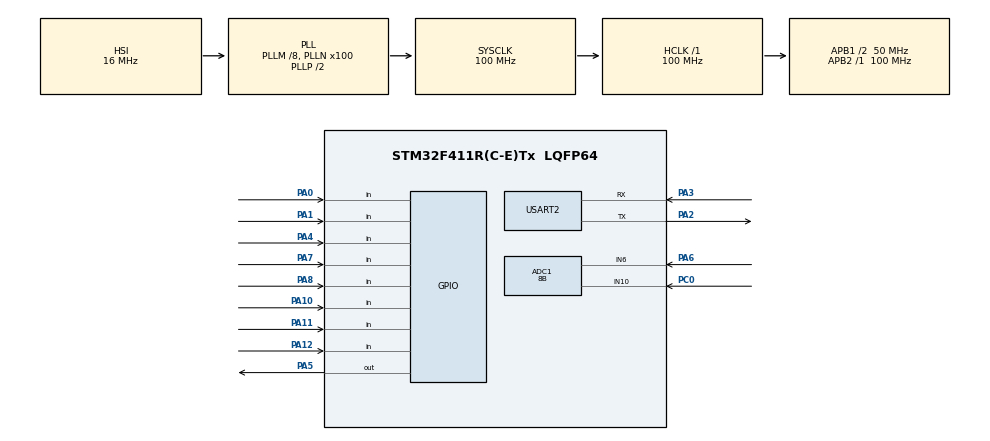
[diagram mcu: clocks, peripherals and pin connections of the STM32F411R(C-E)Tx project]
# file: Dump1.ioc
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ADC1.Channel-0\#ChannelRegularConversion=ADC_CHANNEL_6
ADC1.Channel-1\#ChannelRegularConversion=ADC_CHANNEL_10
ADC1.ContinuousConvMode=ENABLE
ADC1.DMAContinuousRequests=ENABLE
ADC1.NbrOfConversion=2
ADC1.NbrOfConversionFlag=1
ADC1.Rank-0\#ChannelRegularConversion=1
ADC1.Rank-1\#ChannelRegularConversion=2
ADC1.Resolution=ADC_RESOLUTION_8B
ADC1.SamplingTime-0\#ChannelRegularConversion=ADC_SAMPLETIME_480CYCLES
ADC1.SamplingTime-1\#ChannelRegularConversion=ADC_SAMPLETIME_480CYCLES
ADC1.ScanConvMode=ENABLE
ADC1.master=1
Dma.ADC1.0.Direction=DMA_PERIPH_TO_MEMORY
Dma.ADC1.0.FIFOMode=DMA_FIFOMODE_DISABLE
Dma.ADC1.0.Instance=DMA2_Stream0
Dma.ADC1.0.MemDataAlignment=DMA_MDATAALIGN_WORD
Dma.ADC1.0.MemInc=DMA_MINC_ENABLE
Dma.ADC1.0.Mode=DMA_CIRCULAR
Dma.ADC1.0.PeriphDataAlignment=DMA_PDATAALIGN_WORD
Dma.ADC1.0.PeriphInc=DMA_PINC_DISABLE
Dma.ADC1.0.Priority=DMA_PRIORITY_LOW
Dma.Request0=ADC1
Mcu.Family=STM32F4
Mcu.Name=STM32F411R(C-E)Tx
Mcu.Package=LQFP64
NVIC.DMA2_Stream0_IRQn=true\:0\:0\:false\:false\:true\:false\:true
NVIC.PriorityGroup=NVIC_PRIORITYGROUP_4
NVIC.TIM1_UP_TIM10_IRQn=true\:1\:0\:true\:false\:true\:true\:true
NVIC.USART2_IRQn=true\:0\:0\:false\:false\:true\:true\:true
PA0-WKUP.Signal=GPIO_Input
PA1.Signal=GPIO_Input
PA10.Signal=GPIO_Input
PA11.Signal=GPIO_Input
PA12.Signal=GPIO_Input
PA2.Mode=Asynchronous
PA2.Signal=USART2_TX
PA3.Mode=Asynchronous
PA3.Signal=USART2_RX
PA4.Signal=GPIO_Input
PA5.Signal=GPIO_Output
PA6.Signal=ADCx_IN6
PA7.Signal=GPIO_Input
PA8.Signal=GPIO_Input
PC0.Signal=ADCx_IN10
ProjectManager.HeapSize=0x200
ProjectManager.StackSize=0x400
ProjectManager.TargetToolchain=MDK-ARM V5
RCC.48MHZClocksFreq_Value=50000000
RCC.AHBFreq_Value=100000000
RCC.APB1CLKDivider=RCC_HCLK_DIV2
RCC.APB1Freq_Value=50000000
RCC.APB1TimFreq_Value=100000000
RCC.APB2Freq_Value=100000000
RCC.APB2TimFreq_Value=100000000
RCC.CortexFreq_Value=100000000
RCC.HCLKFreq_Value=100000000
RCC.HSE_VALUE=25000000
RCC.HSI_VALUE=16000000
RCC.LSE_VALUE=32768
RCC.PLLM=8
RCC.PLLN=100
RCC.SYSCLKFreq_VALUE=100000000
RCC.SYSCLKSource=RCC_SYSCLKSOURCE_PLLCLK
RCC.VCOOutputFreq_Value=200000000
SH.ADCx_IN10.0=ADC1_IN10,IN10
SH.ADCx_IN6.0=ADC1_IN6,IN6
TIM1.Period=1000-1
TIM1.Prescaler=100-1
USART2.VirtualMode=VM_ASYNC
VP_TIM1_VS_ClockSourceINT.Mode=Internal
board=custom

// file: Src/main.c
/* USER CODE BEGIN Header */
/**
  ******************************************************************************
  * @file           : main.c
  * @brief          : Main program body
  ******************************************************************************
  * @attention
  *
  * <h2><center>&copy; Copyright (c) 2020 STMicroelectronics.
  * All rights reserved.</center></h2>
  *
  * This software component is licensed by ST under BSD 3-Clause license,
  * the "License"; You may not use this file except in compliance with the
  * License. You may obtain a copy of the License at:
  *                        opensource.org/licenses/BSD-3-Clause
  *
  ******************************************************************************
  */
/* USER CODE END Header */

#include "main.h"
#include "adc.h"
#include "dma.h"
#include "tim.h"
#include "usart.h"
#include "gpio.h"

/* USER CODE BEGIN PTD */

// defines for setting and clearing register bits

typedef unsigned char byte;

/* USER CODE END PTD */

/* USER CODE BEGIN PV */

int VPA0, VPA1, VPA4, VPA6, VPA7, VPA8, VPA9, VPA10;
uint32_t count;
uint32_t tim, lasttim=15;
uint32_t tBa, tFl1, tFl2, tSN, tTom, tHi, tCC, tRC;

/* SET Note */
// send ( note velocity note velocity )
// MIDI_TX(0000, [ON-OFF], Note, Velocity)

uint8_t noteOff[4] = {0x08, 0x80, 0x47, 0x47};
uint8_t BASS[4] = {0x08, 0x90, 0x24, 120};
uint8_t FloorTom1[4] = {0x08, 0x90, 0x41, 120};
uint8_t FloorTom2[4] = {0x08, 0x90, 0x43, 120};
uint8_t SNARE[4] = {0x08, 0x90, 0x26, 120};
uint8_t TOMS[4] = {0x08, 0x90, 0x45, 120};
uint8_t Hi_Hat[4] = {0x08, 0x90, 0x32, 120};
uint8_t Crash_CymBal[4] = {0x08, 0x90, 0x4D, 120};
uint8_t Ride_CymBal[4] = {0x08, 0x90, 0x3C, 120};

/* USER CODE END PV */

void SystemClock_Config(void);
/* USER CODE BEGIN PFP */

void Read_piezo_sensor();
void Map_Note();
void send_data_tx(uint8_t *data);

/* USER CODE END PFP */

/* USER CODE BEGIN 0 */
uint32_t adc[2], buffer[2];

void HAL_ADC_ConvCpltCallback(ADC_HandleTypeDef* hadc)
{
	adc[0] = buffer[0];
	adc[1] = buffer[1];
}

/* USER CODE END 0 */

int main(void)
{

  /* MCU Configuration--------------------------------------------------------*/

  /* Reset of all peripherals, Initializes the Flash interface and the Systick. */
  HAL_Init();

  /* Configure the system clock */
  SystemClock_Config();

  /* Initialize all configured peripherals */
  MX_GPIO_Init();
  MX_DMA_Init();
  MX_ADC1_Init();
  MX_TIM1_Init();
  MX_USART2_UART_Init();
  /* USER CODE BEGIN 2 */

	/* Start timer interrupt */
	HAL_TIM_Base_Start_IT(&htim1);

	HAL_ADC_Start_DMA(&hadc1, buffer, 2);
	// HAL_ADC_Start(&hadc1);

  /* USER CODE END 2 */

  /* Infinite loop */
  while (1)
  {

    /* USER CODE BEGIN 3 */

		/* Toggle LED PA5 */
		HAL_GPIO_TogglePin(GPIOA, GPIO_PIN_5);

		/* Read status Piezo (push, release) */
		Read_piezo_sensor();

		/* check index sensor and send value to midi */
		Map_Note();

  }
  /* USER CODE END 3 */
}

void SystemClock_Config(void)
{
  RCC_OscInitTypeDef RCC_OscInitStruct = {0};
  RCC_ClkInitTypeDef RCC_ClkInitStruct = {0};

  /** Configure the main internal regulator output voltage
  */
  __HAL_RCC_PWR_CLK_ENABLE();
  __HAL_PWR_VOLTAGESCALING_CONFIG(PWR_REGULATOR_VOLTAGE_SCALE1);
  /** Initializes the CPU, AHB and APB busses clocks
  */
  RCC_OscInitStruct.OscillatorType = RCC_OSCILLATORTYPE_HSI;
  RCC_OscInitStruct.HSIState = RCC_HSI_ON;
  RCC_OscInitStruct.HSICalibrationValue = RCC_HSICALIBRATION_DEFAULT;
  RCC_OscInitStruct.PLL.PLLState = RCC_PLL_ON;
  RCC_OscInitStruct.PLL.PLLSource = RCC_PLLSOURCE_HSI;
  RCC_OscInitStruct.PLL.PLLM = 8;
  RCC_OscInitStruct.PLL.PLLN = 100;
  RCC_OscInitStruct.PLL.PLLP = RCC_PLLP_DIV2;
  RCC_OscInitStruct.PLL.PLLQ = 4;
  if (HAL_RCC_OscConfig(&RCC_OscInitStruct) != HAL_OK)
  {
    Error_Handler();
  }
  /** Initializes the CPU, AHB and APB busses clocks
  */
  RCC_ClkInitStruct.ClockType = RCC_CLOCKTYPE_HCLK|RCC_CLOCKTYPE_SYSCLK
                              |RCC_CLOCKTYPE_PCLK1|RCC_CLOCKTYPE_PCLK2;
  RCC_ClkInitStruct.SYSCLKSource = RCC_SYSCLKSOURCE_PLLCLK;
  RCC_ClkInitStruct.AHBCLKDivider = RCC_SYSCLK_DIV1;
  RCC_ClkInitStruct.APB1CLKDivider = RCC_HCLK_DIV2;
  RCC_ClkInitStruct.APB2CLKDivider = RCC_HCLK_DIV1;

  if (HAL_RCC_ClockConfig(&RCC_ClkInitStruct, FLASH_LATENCY_3) != HAL_OK)
  {
    Error_Handler();
  }
}

/* USER CODE BEGIN 4 */

void Read_piezo_sensor() {
	VPA0 = HAL_GPIO_ReadPin(GPIOA, GPIO_PIN_0);
	VPA1 = HAL_GPIO_ReadPin(GPIOA, GPIO_PIN_1);
	VPA4 = HAL_GPIO_ReadPin(GPIOA, GPIO_PIN_4);
	VPA6 = HAL_GPIO_ReadPin(GPIOA, GPIO_PIN_6);
	VPA7 = HAL_GPIO_ReadPin(GPIOA, GPIO_PIN_7);
	VPA8 = HAL_GPIO_ReadPin(GPIOA, GPIO_PIN_8);
	VPA9 = HAL_GPIO_ReadPin(GPIOA, GPIO_PIN_9);
	VPA10 = HAL_GPIO_ReadPin(GPIOA, GPIO_PIN_10);
}

void map_time(uint32_t value) {
	tim = value / 10;		// ms
}

void Map_Note() {
	if(VPA0 && tim > (tBa+lasttim)) {
		tBa = tim;
		send_data_tx(BASS);
		// HAL_Delay(100);
	}
	if(VPA1 && tim > (tFl1+lasttim)) {
		tFl1 = tim;
		send_data_tx(FloorTom1);
		// HAL_Delay(100);
	}
	if(VPA4 && tim > (tFl2+lasttim)) {
		tFl2 = tim;
		send_data_tx(FloorTom2);
		// HAL_Delay(100);
	}
	/*
	if(VPA6 && tim > (tSN+lasttim)) {
		tSN = tim;
		send_data_tx(SNARE);
		// HAL_Delay(100);
	}
	*/
	/* ADC1 Snare */
	if(adc[0] > 50 && tim > (tSN+lasttim)) {
		if(adc[0] > 120) { tSN = tim;  SNARE[3]=110; send_data_tx( SNARE ); }
		else if(adc[0] > 110) { tSN = tim;  SNARE[3]=110; send_data_tx( SNARE ); }
		else if(adc[0] > 100) { tSN = tim;  SNARE[3]=100; send_data_tx( SNARE ); }
		else if(adc[0] > 90) { tSN = tim;  SNARE[3]=90; send_data_tx( SNARE ); }
		else if(adc[0] > 80) { tSN = tim;  SNARE[3]=80; send_data_tx( SNARE ); }
		//else if(adc[0] > 70) { tSN = tim;  SNARE[3]=80; send_data_tx( SNARE ); }
		//else if(adc[0] > 60) { tSN = tim;  SNARE[3]=80; send_data_tx( SNARE ); }
	}

	/* ADC2 Crash_CymBal */
	if(adc[1] > 50 && tim > (tCC+lasttim)) {
		if(adc[1] > 120) { tCC = tim;  Crash_CymBal[3]=100; send_data_tx( Crash_CymBal ); }
		else if(adc[1] > 110) { tCC = tim;  Crash_CymBal[3]=100; send_data_tx( Crash_CymBal ); }
		else if(adc[1] > 100) { tCC = tim;  Crash_CymBal[3]=100; send_data_tx( Crash_CymBal ); }
		else if(adc[1] > 90) { tCC = tim;  Crash_CymBal[3]=90; send_data_tx( Crash_CymBal ); }
		// else if(adc[1] > 80) { tCC = tim;  Crash_CymBal[3]=80; send_data_tx( Crash_CymBal ); }
		// else if(adc[1] > 70) { tCC = tim;  Crash_CymBal[3]=80; send_data_tx( Crash_CymBal ); }
		// else if(adc[1] > 60) { tCC = tim;  Crash_CymBal[3]=80; send_data_tx( Crash_CymBal ); }
	}

	if(VPA7 && tim > (tTom+lasttim)) {
		tTom = tim;
		send_data_tx(TOMS);
		// HAL_Delay(100);
	}
	if(VPA8 && tim > (tHi+lasttim)) {
		tHi = tim;
		send_data_tx(Hi_Hat);
		// HAL_Delay(100);
	}
	/*
	if(VPA9 && tim > (tCC+lasttim)) {
		tCC = tim;
		send_data_tx(Crash_CymBal);
		// HAL_Delay(100);
	}
	*/
	if(VPA10 && tim > (tRC+lasttim)) {
		tRC = tim;
		send_data_tx(Ride_CymBal);
		// HAL_Delay(100);
	}

}

void send_data_tx(uint8_t *data) {
	HAL_UART_Transmit_IT(&huart2, data, 4);
}

/* USER CODE END 4 */

void Error_Handler(void)
{
}

/************************ (C) COPYRIGHT STMicroelectronics *****END OF FILE****/
